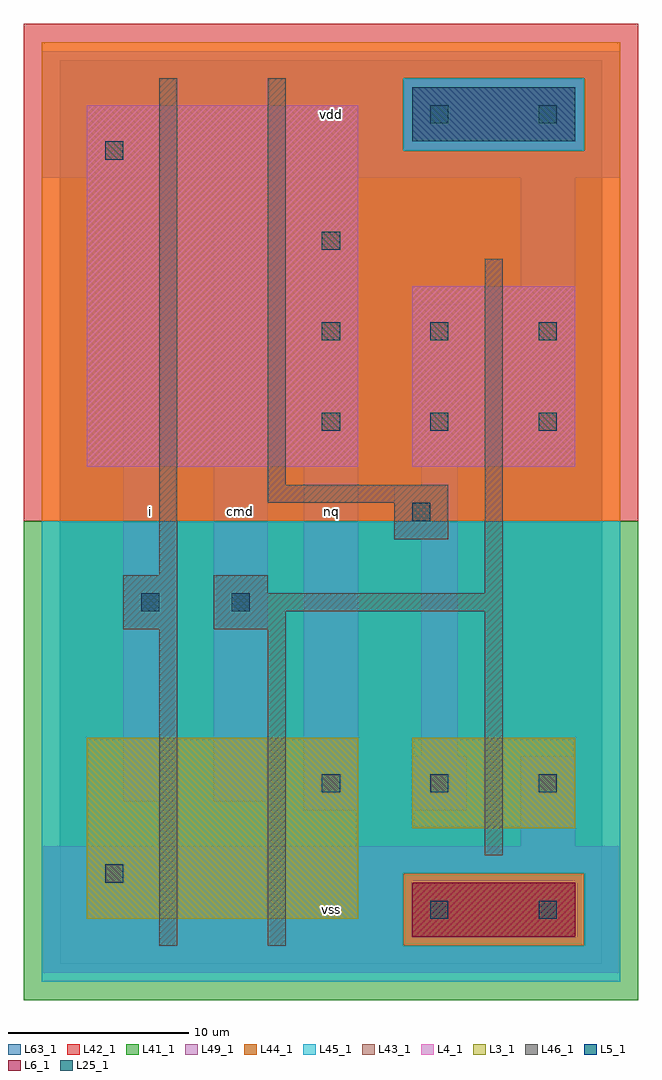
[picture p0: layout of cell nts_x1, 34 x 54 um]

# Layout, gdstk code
import gdstk
lib = gdstk.Library(unit=1e-6, precision=1e-09)
def R(c, l, rs):  # rectangles x0, y0, x1, y1
    for r in rs: c.add(gdstk.rectangle(r[:2], r[2:], *l))
def A(c, l, x, y, w, h, nx, ny, dx, dy):  # array of equal rectangles
    R(c, l, [(x+i*dx, y+j*dy, x+i*dx+w, y+j*dy+h) for i in range(nx) for j in range(ny)])
L3_1 = (3, 1)
L4_1 = (4, 1)
L5_1 = (5, 1)
L6_1 = (6, 1)
L25_1 = (25, 1)
L41_1 = (41, 1)
L42_1 = (42, 1)
L43_1 = (43, 1)
L44_1 = (44, 1)
L45_1 = (45, 1)
L46_1 = (46, 1)
L49_1 = (49, 1)
L63_1 = (63, 1)

nts_x1 = lib.new_cell('nts_x1')
R(nts_x1, L3_1, [(1.5,2.5,16.5,12.5), (19.5,7.5,28.5,12.5)])
R(nts_x1, L4_1, [(1.5,27.5,16.5,47.5), (19.5,27.5,28.5,37.5)])
R(nts_x1, L5_1, [(19.5,45.5,28.5,48.5)])
R(nts_x1, L6_1, [(19.5,1.5,28.5,4.5)])
A(nts_x1, L25_1, 14.5, 9.5, 1, 1, 3, 2, 6, 20)
A(nts_x1, L25_1, 14.5, 34.5, 1, 1, 3, 1, 6, 0)
R(nts_x1, L25_1, [(20.5,2.5,21.5,3.5), (26.5,2.5,27.5,3.5), (2.5,4.5,3.5,5.5), (4.5,19.5,5.5,20.5), (9.5,19.5,10.5,20.5), (19.5,24.5,20.5,25.5), (14.5,39.5,15.5,40.5), (2.5,44.5,3.5,45.5), (20.5,46.5,21.5,47.5), (26.5,46.5,27.5,47.5)])
R(nts_x1, L41_1, [(-2,-2,32,24.5)])
R(nts_x1, L42_1, [(-2,24.5,32,52)])
R(nts_x1, L43_1, [(19.5,1.5,28.5,4.5), (1.5,2.5,16.5,12.5), (19.5,7.5,28.5,12.5), (1.5,27.5,16.5,47.5), (19.5,27.5,28.5,37.5), (19.5,45.5,28.5,48.5)])
R(nts_x1, L44_1, [(19,1,29,5), (-1,24.5,31,45), (-1,45,19,49), (29,45,31,49), (-1,49,31,51)])
R(nts_x1, L45_1, [(-1,-1,31,1), (-1,1,19,5), (29,1,31,5), (-1,5,31,24.5), (19,45,29,49)])
R(nts_x1, L46_1, [(5.5,1,6.5,18.5), (11.5,1,12.5,18.5), (23.5,6,24.5,19.5), (3.5,18.5,6.5,21.5), (8.5,18.5,12.5,19.5), (8.5,19.5,24.5,20.5), (8.5,20.5,11.5,21.5), (23.5,20.5,24.5,39), (5.5,21.5,6.5,49), (18.5,23.5,21.5,25.5), (11.5,25.5,21.5,26.5), (11.5,26.5,12.5,49)])
R(nts_x1, L49_1, [(-1,-0.5,31,6.5), (25.5,6.5,28.5,11.5), (13.5,8.5,16.5,41.5), (19.5,8.5,22.5,11.5), (3.5,9,6.5,41), (8.5,9,11.5,41), (20,11.5,22,23.5), (18.5,23.5,22,26.5), (20,26.5,22,28.5), (19.5,28.5,22.5,31.5), (25.5,28.5,28.5,43.5), (20,31.5,22,33.5), (19.5,33.5,22.5,36.5), (-1,43.5,31,50.5)])
R(nts_x1, L63_1, [(0,0,30,50)])
nts_x1.add(gdstk.Label('i', (5,25), layer=49, texttype=1))
nts_x1.add(gdstk.Label('i', (5,25), layer=49, texttype=1))
nts_x1.add(gdstk.Label('cmd', (10,25), layer=49, texttype=1))
nts_x1.add(gdstk.Label('cmd', (10,25), layer=49, texttype=1))
nts_x1.add(gdstk.Label('vss', (15,3), layer=49, texttype=1))
nts_x1.add(gdstk.Label('vss', (15,3), layer=49, texttype=1))
nts_x1.add(gdstk.Label('nq', (15,25), layer=49, texttype=1))
nts_x1.add(gdstk.Label('nq', (15,25), layer=49, texttype=1))
nts_x1.add(gdstk.Label('vdd', (15,47), layer=49, texttype=1))
nts_x1.add(gdstk.Label('vdd', (15,47), layer=49, texttype=1))

lib.write_gds('nts_x1.gds')
